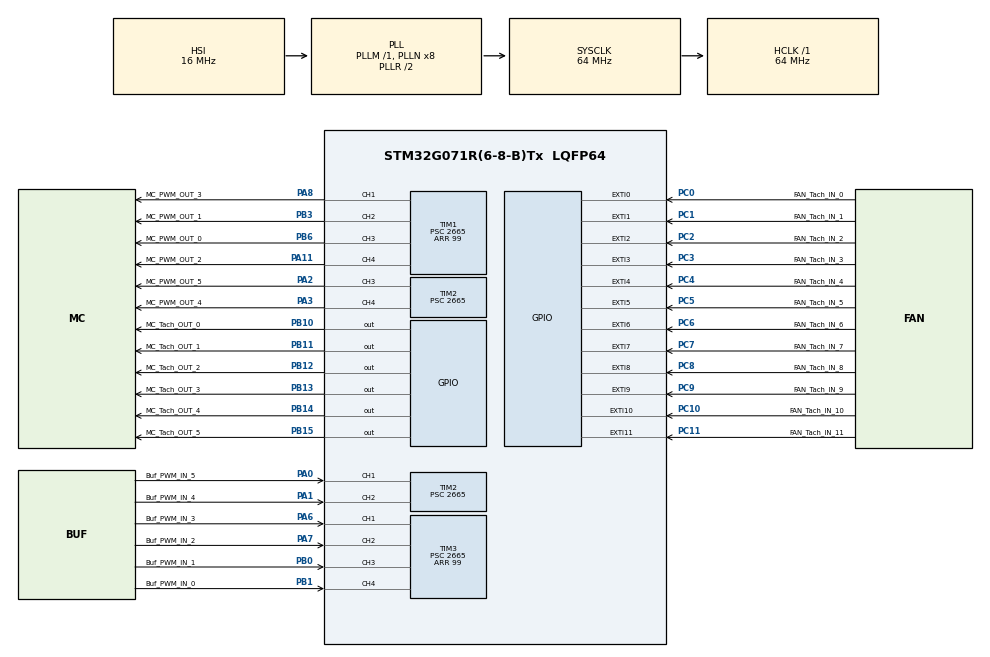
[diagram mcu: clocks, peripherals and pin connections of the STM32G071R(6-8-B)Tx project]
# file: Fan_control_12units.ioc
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Mcu.Family=STM32G0
Mcu.Name=STM32G071R(6-8-B)Tx
Mcu.Package=LQFP64
Mcu.UserConstants=MC_PWM_OUT,MC_PWM_OUT_0
NVIC.EXTI0_1_IRQn=true\:0\:0\:false\:false\:true\:true\:true\:true
NVIC.EXTI2_3_IRQn=true\:0\:0\:false\:false\:true\:true\:true\:true
NVIC.EXTI4_15_IRQn=true\:0\:0\:false\:false\:true\:true\:true\:true
PA0.GPIO_Label=Buf_PWM_IN_5
PA0.GPIO_ModeDefaultPP=GPIO_MODE_AF_PP
PA0.GPIO_PuPd=GPIO_PULLUP
PA0.GPIO_Speed=GPIO_SPEED_FREQ_HIGH
PA0.Signal=S_TIM2_CH1_ETR
PA1.GPIO_Label=Buf_PWM_IN_4
PA1.GPIO_ModeDefaultPP=GPIO_MODE_AF_PP
PA1.GPIO_PuPd=GPIO_PULLUP
PA1.GPIO_Speed=GPIO_SPEED_FREQ_HIGH
PA1.Signal=S_TIM2_CH2
PA11\ [PA9].GPIO_Label=MC_PWM_OUT_2
PA11\ [PA9].GPIO_ModeDefaultPP=GPIO_MODE_AF_PP
PA11\ [PA9].GPIO_PuPd=GPIO_PULLUP
PA11\ [PA9].GPIO_Speed=GPIO_SPEED_FREQ_HIGH
PA11\ [PA9].Signal=S_TIM1_CH4
PA13.GPIO_Label=MC_SWDIO
PA13.Mode=Serial_Wire
PA13.Signal=SYS_SWDIO
PA14-BOOT0.Mode=Serial_Wire
PA14-BOOT0.Signal=SYS_SWCLK
PA2.GPIO_Label=MC_PWM_OUT_5
PA2.GPIO_ModeDefaultPP=GPIO_MODE_AF_PP
PA2.GPIO_PuPd=GPIO_PULLUP
PA2.GPIO_Speed=GPIO_SPEED_FREQ_HIGH
PA2.Signal=S_TIM2_CH3
PA3.GPIO_Label=MC_PWM_OUT_4
PA3.GPIO_ModeDefaultPP=GPIO_MODE_AF_PP
PA3.GPIO_PuPd=GPIO_PULLUP
PA3.GPIO_Speed=GPIO_SPEED_FREQ_HIGH
PA3.Signal=S_TIM2_CH4
PA6.GPIO_Label=Buf_PWM_IN_3
PA6.GPIO_ModeDefaultPP=GPIO_MODE_AF_PP
PA6.GPIO_PuPd=GPIO_PULLUP
PA6.GPIO_Speed=GPIO_SPEED_FREQ_HIGH
PA6.Signal=S_TIM3_CH1
PA7.GPIO_Label=Buf_PWM_IN_2
PA7.GPIO_ModeDefaultPP=GPIO_MODE_AF_PP
PA7.GPIO_PuPd=GPIO_PULLUP
PA7.GPIO_Speed=GPIO_SPEED_FREQ_HIGH
PA7.Signal=S_TIM3_CH2
PA8.GPIO_Label=MC_PWM_OUT_3
PA8.GPIO_ModeDefaultPP=GPIO_MODE_AF_PP
PA8.GPIO_PuPd=GPIO_PULLUP
PA8.GPIO_Speed=GPIO_SPEED_FREQ_HIGH
PA8.Signal=S_TIM1_CH1
PB0.GPIO_Label=Buf_PWM_IN_1
PB0.GPIO_ModeDefaultPP=GPIO_MODE_AF_PP
PB0.GPIO_PuPd=GPIO_PULLUP
PB0.GPIO_Speed=GPIO_SPEED_FREQ_HIGH
PB0.Signal=S_TIM3_CH3
PB1.GPIO_Label=Buf_PWM_IN_0
PB1.GPIO_ModeDefaultPP=GPIO_MODE_AF_PP
PB1.GPIO_PuPd=GPIO_PULLUP
PB1.GPIO_Speed=GPIO_SPEED_FREQ_HIGH
PB1.Signal=S_TIM3_CH4
PB10.GPIO_Label=MC_Tach_OUT_0
PB10.GPIO_Speed=GPIO_SPEED_FREQ_HIGH
PB10.Signal=GPIO_Output
PB11.GPIO_Label=MC_Tach_OUT_1
PB11.GPIO_Speed=GPIO_SPEED_FREQ_HIGH
PB11.Signal=GPIO_Output
PB12.GPIO_Label=MC_Tach_OUT_2
PB12.GPIO_Speed=GPIO_SPEED_FREQ_HIGH
PB12.Signal=GPIO_Output
PB13.GPIO_Label=MC_Tach_OUT_3
PB13.GPIO_Speed=GPIO_SPEED_FREQ_HIGH
PB13.Signal=GPIO_Output
PB14.GPIO_Label=MC_Tach_OUT_4
PB14.GPIO_Speed=GPIO_SPEED_FREQ_HIGH
PB14.Signal=GPIO_Output
PB15.GPIO_Label=MC_Tach_OUT_5
PB15.GPIO_Speed=GPIO_SPEED_FREQ_HIGH
PB15.Signal=GPIO_Output
PB3.GPIO_Label=MC_PWM_OUT_1
PB3.GPIO_ModeDefaultPP=GPIO_MODE_AF_PP
PB3.GPIO_PuPd=GPIO_PULLUP
PB3.GPIO_Speed=GPIO_SPEED_FREQ_HIGH
PB3.PinState=GPIO_PIN_RESET
PB3.Signal=S_TIM1_CH2
PB6.GPIO_Label=MC_PWM_OUT_0
PB6.GPIO_ModeDefaultPP=GPIO_MODE_AF_PP
PB6.GPIO_PuPd=GPIO_PULLUP
PB6.GPIO_Speed=GPIO_SPEED_FREQ_HIGH
PB6.Signal=S_TIM1_CH3
PC0.GPIO_Label=FAN_Tach_IN_0
PC0.GPIO_PuPd=GPIO_PULLUP
PC0.Signal=GPXTI0
PC1.GPIO_Label=FAN_Tach_IN_1
PC1.GPIO_PuPd=GPIO_PULLUP
PC1.Signal=GPXTI1
PC10.GPIO_Label=FAN_Tach_IN_10
PC10.GPIO_PuPd=GPIO_PULLUP
PC10.Signal=GPXTI10
PC11.GPIO_Label=FAN_Tach_IN_11
PC11.GPIO_PuPd=GPIO_PULLUP
PC11.Signal=GPXTI11
PC2.GPIO_Label=FAN_Tach_IN_2
PC2.GPIO_PuPd=GPIO_PULLUP
PC2.Signal=GPXTI2
PC3.GPIO_Label=FAN_Tach_IN_3
PC3.GPIO_PuPd=GPIO_PULLUP
PC3.Signal=GPXTI3
PC4.GPIO_Label=FAN_Tach_IN_4
PC4.GPIO_PuPd=GPIO_PULLUP
PC4.Signal=GPXTI4
PC5.GPIO_Label=FAN_Tach_IN_5
PC5.GPIO_PuPd=GPIO_PULLUP
PC5.Signal=GPXTI5
PC6.GPIO_Label=FAN_Tach_IN_6
PC6.GPIO_PuPd=GPIO_PULLUP
PC6.Signal=GPXTI6
PC7.GPIO_Label=FAN_Tach_IN_7
PC7.GPIO_PuPd=GPIO_PULLUP
PC7.Signal=GPXTI7
PC8.GPIO_Label=FAN_Tach_IN_8
PC8.GPIO_PuPd=GPIO_PULLUP
PC8.Signal=GPXTI8
PC9.GPIO_Label=FAN_Tach_IN_9
PC9.GPIO_PuPd=GPIO_PULLUP
PC9.Signal=GPXTI9
ProjectManager.HeapSize=0x200
ProjectManager.StackSize=0x400
ProjectManager.TargetToolchain=STM32CubeIDE
RCC.ADCFreq_Value=64000000
RCC.AHBFreq_Value=64000000
RCC.CortexFreq_Value=64000000
RCC.EXTERNAL_CLOCK_VALUE=48000
RCC.HCLKFreq_Value=64000000
RCC.HSE_VALUE=8000000
RCC.HSI_VALUE=16000000
RCC.LSE_VALUE=32768
RCC.PLLQ=RCC_PLLQ_DIV4
RCC.SYSCLKFreq_VALUE=64000000
RCC.SYSCLKSource=RCC_SYSCLKSOURCE_PLLCLK
RCC.VCOOutputFreq_Value=128000000
SH.S_TIM1_CH1.0=TIM1_CH1,PWM Generation1 CH1
SH.S_TIM1_CH2.0=TIM1_CH2,PWM Generation2 CH2
SH.S_TIM1_CH3.0=TIM1_CH3,PWM Generation3 CH3
SH.S_TIM1_CH4.0=TIM1_CH4,PWM Generation4 CH4
SH.S_TIM2_CH1_ETR.0=TIM2_CH1,Input_Capture1_from_TI1
SH.S_TIM2_CH2.0=TIM2_CH2,Input_Capture2_from_TI2
SH.S_TIM2_CH3.0=TIM2_CH3,PWM Generation3 CH3
SH.S_TIM2_CH4.0=TIM2_CH4,PWM Generation4 CH4
SH.S_TIM3_CH1.0=TIM3_CH1,Input_Capture1_from_TI1
SH.S_TIM3_CH2.0=TIM3_CH2,Input_Capture2_from_TI2
SH.S_TIM3_CH3.0=TIM3_CH3,Input_Capture3_from_TI3
SH.S_TIM3_CH4.0=TIM3_CH4,Input_Capture4_from_TI4
TIM1.Channel-PWM\ Generation1\ CH1=TIM_CHANNEL_1
TIM1.Channel-PWM\ Generation2\ CH2=TIM_CHANNEL_2
TIM1.Channel-PWM\ Generation3\ CH3=TIM_CHANNEL_3
TIM1.Channel-PWM\ Generation4\ CH4=TIM_CHANNEL_4
TIM1.Period=99
TIM1.Prescaler=2665
TIM1.Pulse-PWM\ Generation2\ CH2=50
TIM16.Channel=TIM_CHANNEL_1
TIM2.Channel-Input_Capture1_from_TI1=TIM_CHANNEL_1
TIM2.Channel-Input_Capture2_from_TI2=TIM_CHANNEL_2
TIM2.Channel-PWM\ Generation3\ CH3=TIM_CHANNEL_3
TIM2.Channel-PWM\ Generation4\ CH4=TIM_CHANNEL_4
TIM2.Period=99
TIM2.Prescaler=2665
TIM2.Pulse-PWM\ Generation4\ CH4=MC
TIM3.Channel-Input_Capture1_from_TI1=TIM_CHANNEL_1
TIM3.Channel-Input_Capture2_from_TI2=TIM_CHANNEL_2
TIM3.Channel-Input_Capture3_from_TI3=TIM_CHANNEL_3
TIM3.Channel-Input_Capture4_from_TI4=TIM_CHANNEL_4
TIM3.Period=99
TIM3.Prescaler=2665
VP_RTC_VS_RTC_Activate.Mode=RTC_Enabled
VP_TIM16_VS_ClockSourceINT.Mode=Enable_Timer
VP_TIM16_VS_no_output1.Mode=Output Compare1 No Output
VP_TIM1_VS_ClockSourceINT.Mode=Internal
VP_TIM2_VS_ClockSourceINT.Mode=Internal
VP_TIM3_VS_ClockSourceINT.Mode=Internal
board=custom

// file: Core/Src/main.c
/* USER CODE BEGIN Header */
/**
  ******************************************************************************
  * @file           : main.c
  * @brief          : Main program body
  ******************************************************************************
  * @attention
  *
  * Copyright (c) 2024 STMicroelectronics.
  * All rights reserved.
  *
  * This software is licensed under terms that can be found in the LICENSE file
  * in the root directory of this software component.
  * If no LICENSE file comes with this software, it is provided AS-IS.
  *
  ******************************************************************************
  */
/* USER CODE END Header */
#include "main.h"
#include "rtc.h"
#include "tim.h"
#include "gpio.h"

/* USER CODE BEGIN Includes */
#include <stdio.h>
#include <stdbool.h>

/* USER CODE END Includes */

void SystemClock_Config(void);

int main(void)
{

  /* MCU Configuration--------------------------------------------------------*/

  /* Reset of all peripherals, Initializes the Flash interface and the Systick. */
  HAL_Init();

  /* Configure the system clock */
  SystemClock_Config();

  /* Initialize all configured peripherals */
  MX_GPIO_Init();
  MX_TIM3_Init();
  MX_TIM1_Init();
  MX_RTC_Init();
  MX_TIM2_Init();
  MX_TIM16_Init();
  /* USER CODE BEGIN 2 */
  HAL_TIM_PWM_Start(&htim1, TIM_CHANNEL_1); // запуск PWM на необходимых каналах таймеров
  HAL_TIM_PWM_Start(&htim1, TIM_CHANNEL_2);
  HAL_TIM_PWM_Start(&htim1, TIM_CHANNEL_3);
  HAL_TIM_PWM_Start(&htim1, TIM_CHANNEL_4);
  HAL_TIM_PWM_Start(&htim2, TIM_CHANNEL_3);
  HAL_TIM_PWM_Start(&htim2, TIM_CHANNEL_4);

  HAL_NVIC_EnableIRQ(TIM2_IRQn);
  HAL_NVIC_EnableIRQ(TIM3_IRQn);

  HAL_TIM_IC_Start_IT(&htim2, TIM_CHANNEL_1);
  HAL_TIM_IC_Start_IT(&htim2, TIM_CHANNEL_2);
  HAL_TIM_IC_Start_IT(&htim3, TIM_CHANNEL_1);
  HAL_TIM_IC_Start_IT(&htim3, TIM_CHANNEL_2);
  HAL_TIM_IC_Start_IT(&htim3, TIM_CHANNEL_3);
  HAL_TIM_IC_Start_IT(&htim3, TIM_CHANNEL_4);

  /* USER CODE END 2 */

  /* Infinite loop */
  while (1)
  {

    /* USER CODE BEGIN 3 */

	  set_PWM(count_connected_devices);
	  adjust_PWM();

	  HAL_Delay(10);

  }
  /* USER CODE END 3 */
}

void SystemClock_Config(void)
{
  RCC_OscInitTypeDef RCC_OscInitStruct = {0};
  RCC_ClkInitTypeDef RCC_ClkInitStruct = {0};

  /** Configure the main internal regulator output voltage
  */
  HAL_PWREx_ControlVoltageScaling(PWR_REGULATOR_VOLTAGE_SCALE1);

  /** Initializes the RCC Oscillators according to the specified parameters
  * in the RCC_OscInitTypeDef structure.
  */
  RCC_OscInitStruct.OscillatorType = RCC_OSCILLATORTYPE_HSI|RCC_OSCILLATORTYPE_LSI;
  RCC_OscInitStruct.HSIState = RCC_HSI_ON;
  RCC_OscInitStruct.HSIDiv = RCC_HSI_DIV1;
  RCC_OscInitStruct.HSICalibrationValue = RCC_HSICALIBRATION_DEFAULT;
  RCC_OscInitStruct.LSIState = RCC_LSI_ON;
  RCC_OscInitStruct.PLL.PLLState = RCC_PLL_ON;
  RCC_OscInitStruct.PLL.PLLSource = RCC_PLLSOURCE_HSI;
  RCC_OscInitStruct.PLL.PLLM = RCC_PLLM_DIV1;
  RCC_OscInitStruct.PLL.PLLN = 8;
  RCC_OscInitStruct.PLL.PLLP = RCC_PLLP_DIV2;
  RCC_OscInitStruct.PLL.PLLQ = RCC_PLLQ_DIV4;
  RCC_OscInitStruct.PLL.PLLR = RCC_PLLR_DIV2;
  if (HAL_RCC_OscConfig(&RCC_OscInitStruct) != HAL_OK)
  {
    Error_Handler();
  }

  /** Initializes the CPU, AHB and APB buses clocks
  */
  RCC_ClkInitStruct.ClockType = RCC_CLOCKTYPE_HCLK|RCC_CLOCKTYPE_SYSCLK
                              |RCC_CLOCKTYPE_PCLK1;
  RCC_ClkInitStruct.SYSCLKSource = RCC_SYSCLKSOURCE_PLLCLK;
  RCC_ClkInitStruct.AHBCLKDivider = RCC_SYSCLK_DIV1;
  RCC_ClkInitStruct.APB1CLKDivider = RCC_HCLK_DIV1;

  if (HAL_RCC_ClockConfig(&RCC_ClkInitStruct, FLASH_LATENCY_2) != HAL_OK)
  {
    Error_Handler();
  }
}

void Error_Handler(void)
{
  __disable_irq();
  while (1)
  {
  }
}
